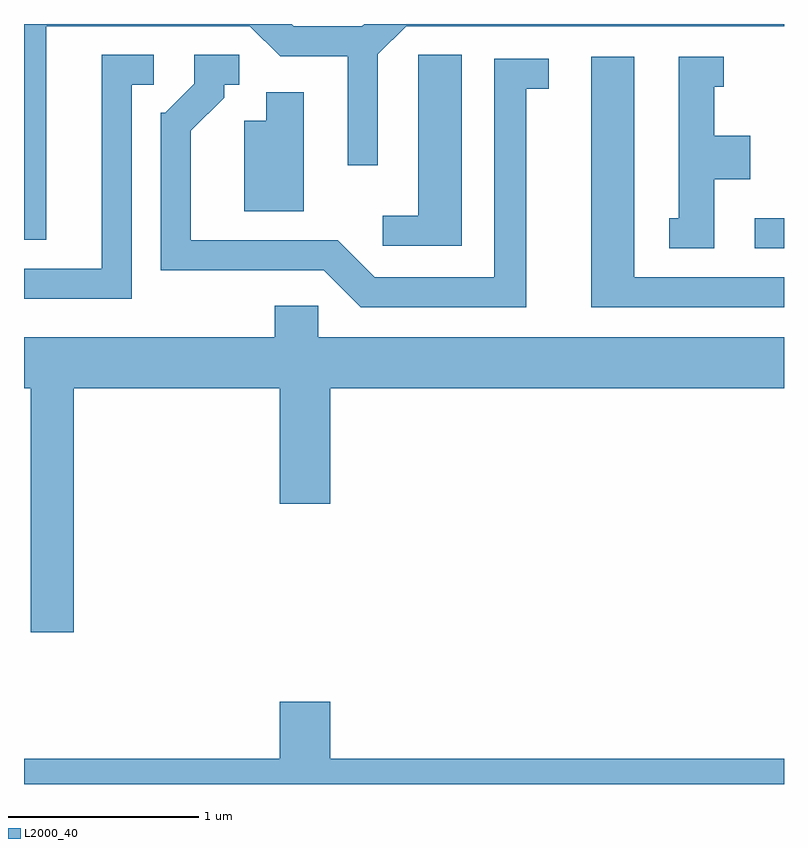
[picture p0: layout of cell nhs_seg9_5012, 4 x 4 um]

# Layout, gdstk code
import gdstk
lib = gdstk.Library(unit=1e-6, precision=1e-09)
def R(c, l, rs):  # rectangles x0, y0, x1, y1
    for r in rs: c.add(gdstk.rectangle(r[:2], r[2:], *l))
def P(c, l, *ps):  # polygons
    for p in ps: c.add(gdstk.Polygon(p, *l))
L2000_40 = (2000, 40)

nhs_seg9_5012 = lib.new_cell('nhs_seg9_5012')
R(nhs_seg9_5012, L2000_40, [(337.458,1959.251,337.611,1959.409)])
P(nhs_seg9_5012, L2000_40, [(333.729,1960.421),(334.799,1960.421),(334.959,1960.261),(335.316,1960.261),(335.316,1959.688),(335.474,1959.688),(335.474,1960.274),(335.622,1960.421),(337.611,1960.421),(337.611,1960.432),(335.402,1960.432),(335.389,1960.419),(335.032,1960.419),(335.019,1960.432),(333.611,1960.432),(333.611,1959.296),(333.729,1959.296)],
  [(334.179,1960.111),(334.293,1960.111),(334.293,1960.269),(334.021,1960.269),(334.021,1959.144),(333.611,1959.144),(333.611,1958.986),(334.179,1958.986)],
  [(335.914,1960.269),(335.686,1960.269),(335.686,1959.424),(335.498,1959.424),(335.498,1959.266),(335.914,1959.266)],
  [(336.254,1960.091),(336.373,1960.091),(336.373,1960.249),(336.086,1960.249),(336.086,1959.099),(335.457,1959.099),(335.262,1959.294),(334.489,1959.294),(334.489,1959.869),(334.664,1960.044),(334.664,1960.111),(334.743,1960.111),(334.743,1960.269),(334.506,1960.269),(334.506,1960.117),(334.354,1959.964),(334.331,1959.964),(334.331,1959.136),(335.189,1959.136),(335.384,1958.941),(336.254,1958.941)],
  [(337.611,1959.099),(336.824,1959.099),(336.824,1960.259),(336.596,1960.259),(336.596,1958.941),(337.611,1958.941)],
  [(337.244,1959.616),(337.434,1959.616),(337.434,1959.844),(337.244,1959.844),(337.244,1960.101),(337.293,1960.101),(337.293,1960.259),(337.056,1960.259),(337.056,1959.409),(337.008,1959.409),(337.008,1959.251),(337.244,1959.251)],
  [(335.084,1960.074),(334.886,1960.074),(334.886,1959.924),(334.771,1959.924),(334.771,1959.446),(335.084,1959.446)],
  [(333.874,1958.516),(334.956,1958.516),(334.956,1957.906),(335.224,1957.906),(335.224,1958.516),(337.611,1958.516),(337.611,1958.784),(335.159,1958.784),(335.159,1958.949),(334.931,1958.949),(334.931,1958.784),(333.611,1958.784),(333.611,1958.516),(333.646,1958.516),(333.646,1957.231),(333.874,1957.231)],
  [(337.611,1956.564),(335.224,1956.564),(335.224,1956.864),(334.956,1956.864),(334.956,1956.564),(333.611,1956.564),(333.611,1956.432),(337.611,1956.432)])

lib.write_gds('nhs_seg9_5012.gds')
